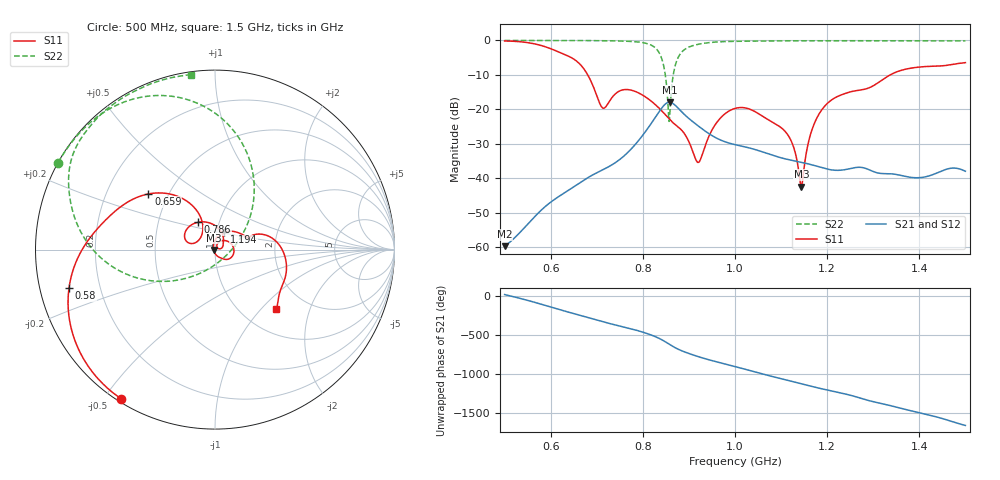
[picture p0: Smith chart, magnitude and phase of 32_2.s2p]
! TOUCHSTONE file generated by CST MICROWAVE STUDIO
! Date and time: Wed Oct 28 19:39:33 2020
! Project name: Scenario_1_Circular_Tissue_out_of_Line_v2.cst
! Parameters = {dy1=190.3; L_HA=400; MT=2.54; Rad_Dielectric=30; Rad_Lower=7.3; Rad_Upper=30; a_HA=580; a_WG=246; b_HA=500; b_WG=121; c_HA=0; c_WG=187; d_feed=85; dx1=346; h_feed=15; h_lower=18; h_upper=40}
! Header version: 2018
! Port assignment regex: !\s*Touchstone port\s*([0-9]+)\s*=\s*(CST MWS port|CST DS port)\s*([0-9]+|Zmin|Zmax)\s*\(\"(.*)\"\)(\s*mode\s*([0-9]+))?.*
! Touchstone port assignment:
! Touchstone port 1 = CST MWS port 1 ("")
! Touchstone port 2 = CST MWS port 2 ("")
# GHz S DB R 50
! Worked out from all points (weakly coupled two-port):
!   1003 points, 500 MHz to 1.5 GHz, reference 50 ohm
!   highest |S21| = -17.94 dB at 858 MHz (marker M1); lowest = -59.7 dB at 500 MHz (marker M2)
!   lowest |S11| = -42.4 dB at 1.144 GHz (marker M3), VSWR 1.02, Z = 49.3 - j0.14 ohm
!   |S11| at or under -10 dB: 680.4 MHz to 1.337 GHz (656.4 MHz wide, 65.1 % of centre)
!   |S22| runs from -23.5 to 0.0 dB; largest |S21 - S12| = 1.8e-05
!   S11 on the Smith chart (normalised r, x): 500 MHz: 0.01, -0.55; 580 MHz: 0.09, -0.13; 659 MHz: 0.39, +0.31; 786 MHz: 0.79, +0.25; 1.194 GHz: 1.09, +0.21; 1.5 GHz: 1.42, -1.22
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0.5  -0.16 -122.3  -59.71 13.2  -59.71 13.2  -0.01 151.1
0.58  -1.50 -165.1  -49.20 -111.8  -49.20 -111.8  -0.02 145.6
0.659  -6.32 140.1  -41.68 114.1  -41.68 114.1  -0.04 139.1
0.667  -7.41 132.3  -40.97 100.7  -40.97 100.7  -0.04 138.4
0.713  -19.62 140.1  -37.55 24.3  -37.55 24.3  -0.08 133.2
0.75  -14.63 156.3  -34.54 -29.9  -34.54 -29.9  -0.16 127.5
0.786  -14.94 121.5  -29.82 -84.3  -29.82 -84.3  -0.41 118.3
0.834  -19.49 71.5  -20.95 175.1  -20.95 175.1  -3.27 82.6
0.847  -21.30 58.3  -18.68 134.2  -18.68 134.2  -8.55 54.4
0.858  -22.90 48.7  -17.94 93.9  -17.94 93.9  -22.57 -77.2
0.867  -24.07 41.8  -18.47 61.9  -18.47 61.9  -9.25 -149.1
0.877  -25.16 33.1  -19.72 31.6  -19.72 31.6  -4.84 -169.9
0.92  -35.41 37.0  -24.80 -62.0  -24.80 -62.0  -1.12 157.8
0.959  -24.07 52.5  -28.29 -127.5  -28.29 -127.5  -0.46 147.2
1  -19.73 6.8  -30.24 170.6  -30.24 170.6  -0.26 140.2
1.108  -26.30 -61.7  -34.34 3.1  -34.34 3.1  -0.11 129.1
1.126  -30.51 -78.2  -34.88 -23.2  -34.88 -23.2  -0.11 127.5
1.144  -42.40 -169.2  -35.37 -50.1  -35.37 -50.1  -0.10 126.0
1.167  -25.95 90.4  -36.11 -84.7  -36.11 -84.7  -0.10 124.2
1.194  -19.18 61.4  -37.13 -122.3  -37.13 -122.3  -0.09 122.1
1.334  -10.21 13.9  -38.68 34.6  -38.68 34.6  -0.08 111.5
1.5  -6.45 -44.2  -37.96 135.5  -37.97 135.6  -0.13 98.0
